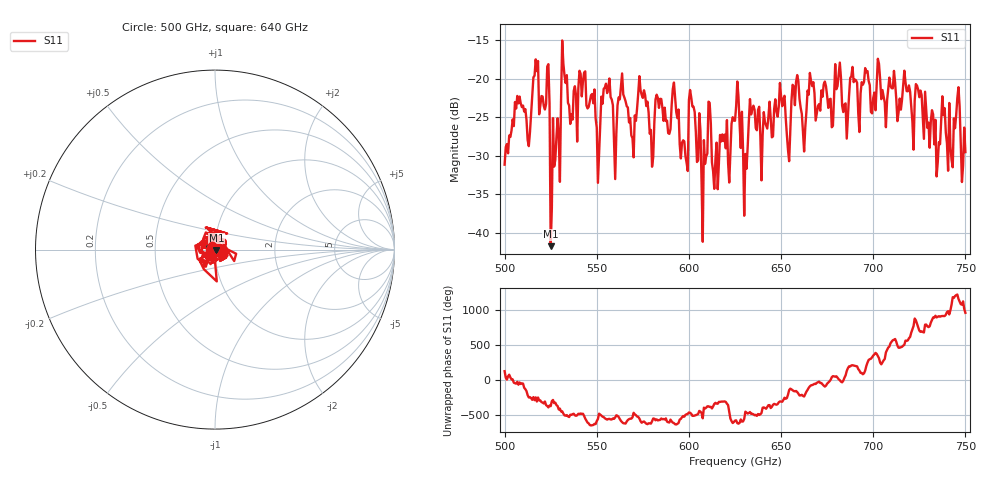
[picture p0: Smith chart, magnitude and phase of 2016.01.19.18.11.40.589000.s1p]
!Created with skrf (http://scikit-rf.org).
# GHz S RI R 50.0
!freq ReS11 ImS11
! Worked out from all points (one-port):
!   401 points, 500 GHz to 750 GHz, reference 50 ohm
!   lowest |S11| = -41.8 dB at 525 GHz (marker M1), VSWR 1.02, Z = 50.8 - j0.187 ohm
!   |S11| at or under -10 dB: start of sweep to end of sweep
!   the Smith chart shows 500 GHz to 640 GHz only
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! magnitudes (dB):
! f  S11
! 500 GHz  -31.2
! 506.9 GHz  -22.2
! 513.1 GHz  -28.8
! 516.9 GHz  -17.5
! 523.1 GHz  -18.4
! 525 GHz  -41.8
! 526.2 GHz  -25.1
! 531.2 GHz  -15.0
! 542.5 GHz  -20.3
! 550.6 GHz  -33.5
! 562.5 GHz  -22.7
! 568.8 GHz  -27.4
! 574.4 GHz  -22.1
! 580 GHz  -31.4
! 593.8 GHz  -25.1
! 598.1 GHz  -30.1
! 601.9 GHz  -23.6
! 608.1 GHz  -28.0
! 610.6 GHz  -23.0
! 614.4 GHz  -30.6
! 625 GHz  -25.5
! 630.6 GHz  -29.8
! 634.4 GHz  -24.0
! 653.8 GHz  -29.2
! 656.2 GHz  -20.8
! 687.5 GHz  -19.9
! 718.8 GHz  -21.6
! 750 GHz  -29.5
